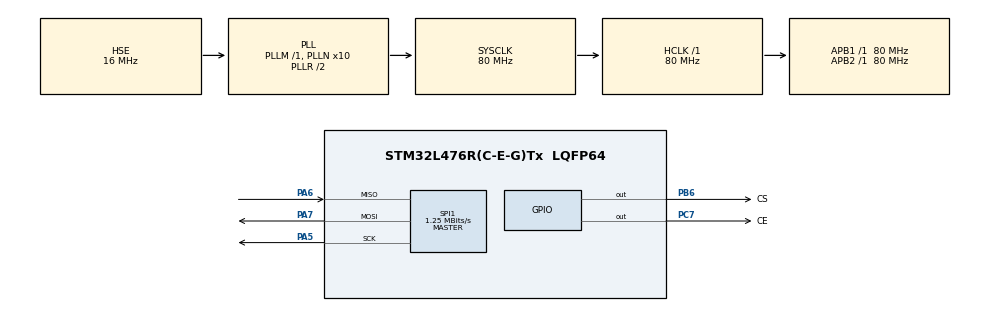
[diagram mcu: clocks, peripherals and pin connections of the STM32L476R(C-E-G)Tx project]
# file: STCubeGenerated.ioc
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Mcu.Family=STM32L4
Mcu.Name=STM32L476R(C-E-G)Tx
Mcu.Package=LQFP64
NVIC.PriorityGroup=NVIC_PRIORITYGROUP_4
NVIC.TIM2_IRQn=true\:0\:0\:false\:false\:true\:true
PA5.Mode=Full_Duplex_Master
PA5.Signal=SPI1_SCK
PA6.Mode=Full_Duplex_Master
PA6.Signal=SPI1_MISO
PA7.Mode=Full_Duplex_Master
PA7.Signal=SPI1_MOSI
PB6.GPIO_Label=CS
PB6.PinState=GPIO_PIN_SET
PB6.Signal=GPIO_Output
PC7.GPIO_Label=CE
PC7.Signal=GPIO_Output
PH0-OSC_IN\ (PH0).Mode=HSE-External-Oscillator
PH0-OSC_IN\ (PH0).Signal=RCC_OSC_IN
PH1-OSC_OUT\ (PH1).Mode=HSE-External-Oscillator
PH1-OSC_OUT\ (PH1).Signal=RCC_OSC_OUT
ProjectManager.HeapSize=0x200
ProjectManager.StackSize=0x400
ProjectManager.TargetToolchain=MDK-ARM V5
RCC.ADCFreq_Value=64000000
RCC.AHBFreq_Value=80000000
RCC.APB1Freq_Value=80000000
RCC.APB1TimFreq_Value=80000000
RCC.APB2Freq_Value=80000000
RCC.APB2TimFreq_Value=80000000
RCC.CortexFreq_Value=80000000
RCC.HCLKFreq_Value=80000000
RCC.HSE_VALUE=16000000
RCC.HSI_VALUE=16000000
RCC.LSE_VALUE=32768
RCC.MSI_VALUE=4000000
RCC.PLLN=10
RCC.PLLSourceVirtual=RCC_PLLSOURCE_HSE
RCC.SYSCLKFreq_VALUE=80000000
RCC.SYSCLKSource=RCC_SYSCLKSOURCE_PLLCLK
RCC.USBFreq_Value=64000000
RCC.VCOOutputFreq_Value=160000000
SPI1.BaudRatePrescaler=SPI_BAUDRATEPRESCALER_64
SPI1.CalculateBaudRate=1.25 MBits/s
SPI1.DataSize=SPI_DATASIZE_8BIT
SPI1.Direction=SPI_DIRECTION_2LINES
SPI1.Mode=SPI_MODE_MASTER
SPI1.TIMode=SPI_TIMODE_DISABLE
SPI1.VirtualType=VM_MASTER
TIM2.Period=80000
VP_TIM2_VS_ClockSourceINT.Mode=Internal
board=custom

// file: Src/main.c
/* USER CODE BEGIN Header */
/**
  ******************************************************************************
  * @file           : main.c
  * @brief          : Main program body
  ******************************************************************************
  ** This notice applies to any and all portions of this file
  * that are not between comment pairs USER CODE BEGIN and
  * USER CODE END. Other portions of this file, whether
  * inserted by the user or by software development tools
  * are owned by their respective copyright owners.
  *
  * COPYRIGHT(c) 2019 STMicroelectronics
  *
  * Redistribution and use in source and binary forms, with or without modification,
  * are permitted provided that the following conditions are met:
  *   1. Redistributions of source code must retain the above copyright notice,
  *      this list of conditions and the following disclaimer.
  *   2. Redistributions in binary form must reproduce the above copyright notice,
  *      this list of conditions and the following disclaimer in the documentation
  *      and/or other materials provided with the distribution.
  *   3. Neither the name of STMicroelectronics nor the names of its contributors
  *      may be used to endorse or promote products derived from this software
  *      without specific prior written permission.
  *
  * THIS SOFTWARE IS PROVIDED BY THE COPYRIGHT HOLDERS AND CONTRIBUTORS "AS IS"
  * AND ANY EXPRESS OR IMPLIED WARRANTIES, INCLUDING, BUT NOT LIMITED TO, THE
  * IMPLIED WARRANTIES OF MERCHANTABILITY AND FITNESS FOR A PARTICULAR PURPOSE ARE
  * DISCLAIMED. IN NO EVENT SHALL THE COPYRIGHT HOLDER OR CONTRIBUTORS BE LIABLE
  * FOR ANY DIRECT, INDIRECT, INCIDENTAL, SPECIAL, EXEMPLARY, OR CONSEQUENTIAL
  * DAMAGES (INCLUDING, BUT NOT LIMITED TO, PROCUREMENT OF SUBSTITUTE GOODS OR
  * SERVICES; LOSS OF USE, DATA, OR PROFITS; OR BUSINESS INTERRUPTION) HOWEVER
  * CAUSED AND ON ANY THEORY OF LIABILITY, WHETHER IN CONTRACT, STRICT LIABILITY,
  * OR TORT (INCLUDING NEGLIGENCE OR OTHERWISE) ARISING IN ANY WAY OUT OF THE USE
  * OF THIS SOFTWARE, EVEN IF ADVISED OF THE POSSIBILITY OF SUCH DAMAGE.
  *
  ******************************************************************************
  */
/* USER CODE END Header */

#include "main.h"

/* USER CODE BEGIN Includes */
#include "nRF24L01p.h"

/* USER CODE END Includes */

SPI_HandleTypeDef hspi1;

TIM_HandleTypeDef htim2;

/* USER CODE BEGIN PV */
/* Private variables ---------------------------------------------------------*/

/* USER CODE END PV */

void SystemClock_Config(void);
static void MX_GPIO_Init(void);
static void MX_SPI1_Init(void);
static void MX_TIM2_Init(void);
/* USER CODE BEGIN PFP */
/* Private function prototypes -----------------------------------------------*/

uint8_t SPI_sprejmi_bajt(uint8_t data);
void SPI_poslji_bajt(uint8_t naslov, uint8_t vrednost);
void sprejmiRadio(void);
void posljiRadio(void);

/* USER CODE END PFP */

/* USER CODE BEGIN 0 */

uint8_t TxSPI[6] = {0xFF, 0xFF, 0xFF, 0xFF, 0xFF, 0xFF};
uint8_t RxSPI[6] = {0xFF, 0xFF, 0xFF, 0xFF, 0xFF, 0xFF};

uint8_t test[15];

int16_t accx = 0;
int16_t accy = 0;
int16_t accz = 0;

int stevec = 10;
int stevec1 = 5;

int16_t podatki[2000];
int ijklm = 0;
int i = 0;
int j = 0;

/* USER CODE END 0 */

int main(void)
{

  /* MCU Configuration--------------------------------------------------------*/

  /* Reset of all peripherals, Initializes the Flash interface and the Systick. */
  HAL_Init();

  /* Configure the system clock */
  SystemClock_Config();

  /* Initialize all configured peripherals */
  MX_GPIO_Init();
  MX_SPI1_Init();
  MX_TIM2_Init();
  /* USER CODE BEGIN 2 */

  // Inizializiraj in splakni SPI buffer
  HAL_SPI_Transmit(&hspi1, TxSPI, 6, 100);
	HAL_SPI_Transmit(&hspi1, TxSPI, 6, 100);
	HAL_SPI_Transmit(&hspi1, TxSPI, 6, 100);

	// Nastavi RX naslov za 0. pipo
	//LSBajt gre prvi
	TxSPI[0] = 0x0A | (1 << 5);
	TxSPI[1] = 0xE1;
	TxSPI[2] = 0xF0;
	TxSPI[3] = 0xF0;
	TxSPI[4] = 0xE8;
	TxSPI[5] = 0xE8;
	HAL_GPIO_WritePin(GPIOB, GPIO_PIN_6, GPIO_PIN_RESET);
	HAL_SPI_Transmit(&hspi1, TxSPI, 6, 100);
	HAL_GPIO_WritePin(GPIOB, GPIO_PIN_6, GPIO_PIN_SET);

	// Nastavi RX naslov za 1. pipo
	//LSBajt gre prvi
	TxSPI[0] = 0x0B | (1 << 5);
	TxSPI[1] = 0x77;
	TxSPI[2] = 0xF0;
	TxSPI[3] = 0xF0;
	TxSPI[4] = 0xE8;
	TxSPI[5] = 0xE8;
	HAL_GPIO_WritePin(GPIOB, GPIO_PIN_6, GPIO_PIN_RESET);
	HAL_SPI_Transmit(&hspi1, TxSPI, 6, 100);
	HAL_GPIO_WritePin(GPIOB, GPIO_PIN_6, GPIO_PIN_SET);

	// Nastavi RX naslov za 2. pipo
	//LSBajt gre prvi
	/*TxSPI[0] = 0x0C | (1 << 5);
	TxSPI[1] = 0x77;
	HAL_GPIO_WritePin(GPIOB, GPIO_PIN_6, GPIO_PIN_RESET);
	HAL_SPI_Transmit(&hspi1, TxSPI, 2, 100);
	HAL_GPIO_WritePin(GPIOB, GPIO_PIN_6, GPIO_PIN_SET);*/

	// Vklopi RX pipe 0, 1, 2
	//LSBajt gre prvi
	TxSPI[0] = 0x02 | (1 << 5);
	TxSPI[1] = 0x07;
	HAL_GPIO_WritePin(GPIOB, GPIO_PIN_6, GPIO_PIN_RESET);
	HAL_SPI_Transmit(&hspi1, TxSPI, 2, 100);
	HAL_GPIO_WritePin(GPIOB, GPIO_PIN_6, GPIO_PIN_SET);

	// Nastavi TX naslov
	//LSBajt gre prvi
	TxSPI[0] = 0x10 | (1 << 5);
	TxSPI[1] = 0xE1;
	TxSPI[2] = 0xF0;
	TxSPI[3] = 0xF0;
	TxSPI[4] = 0xE8;
	TxSPI[5] = 0xE8;
	HAL_GPIO_WritePin(GPIOB, GPIO_PIN_6, GPIO_PIN_RESET);
	HAL_SPI_Transmit(&hspi1, TxSPI, 6, 100);
	HAL_GPIO_WritePin(GPIOB, GPIO_PIN_6, GPIO_PIN_SET);

	// Nastavi 14 bajtov za sprejem za 0. pipo
	TxSPI[0] = 0x11 | (1 << 5);
	TxSPI[1] = 14;
	HAL_GPIO_WritePin(GPIOB, GPIO_PIN_6, GPIO_PIN_RESET);
	HAL_SPI_Transmit(&hspi1, TxSPI, 2, 100);
	HAL_GPIO_WritePin(GPIOB, GPIO_PIN_6, GPIO_PIN_SET);

	// Nastavi 14 bajtov za sprejem za 1. pipo
	TxSPI[0] = 0x12 | (1 << 5);
	TxSPI[1] = 14;
	HAL_GPIO_WritePin(GPIOB, GPIO_PIN_6, GPIO_PIN_RESET);
	HAL_SPI_Transmit(&hspi1, TxSPI, 2, 100);
	HAL_GPIO_WritePin(GPIOB, GPIO_PIN_6, GPIO_PIN_SET);

	// Nastavi 14 bajtov za sprejem za 2. pipo
	TxSPI[0] = 0x13 | (1 << 5);
	TxSPI[1] = 14;
	HAL_GPIO_WritePin(GPIOB, GPIO_PIN_6, GPIO_PIN_RESET);
	HAL_SPI_Transmit(&hspi1, TxSPI, 2, 100);
	HAL_GPIO_WritePin(GPIOB, GPIO_PIN_6, GPIO_PIN_SET);

	// Nastavi TX in vklopi
	TxSPI[0] = 0x00 | (1 << 5);
	TxSPI[1] = 0x0E;
	HAL_GPIO_WritePin(GPIOB, GPIO_PIN_6, GPIO_PIN_RESET);
	HAL_SPI_Transmit(&hspi1, TxSPI, 2, 100);
	HAL_GPIO_WritePin(GPIOB, GPIO_PIN_6, GPIO_PIN_SET);

	// Nastavi frekvenco na 2400 + 76 MHz
	TxSPI[0] = 0x05 | (1 << 5);
	TxSPI[1] = 76;
	HAL_GPIO_WritePin(GPIOB, GPIO_PIN_6, GPIO_PIN_RESET);
	HAL_SPI_Transmit(&hspi1, TxSPI, 2, 100);
	HAL_GPIO_WritePin(GPIOB, GPIO_PIN_6, GPIO_PIN_SET);

	// Nastavi SETUP_RETR register
	TxSPI[0] = 0x04 | (1 << 5);
	TxSPI[1] = 0x2F;
	HAL_GPIO_WritePin(GPIOB, GPIO_PIN_6, GPIO_PIN_RESET);
	HAL_SPI_Transmit(&hspi1, TxSPI, 2, 100);
	HAL_GPIO_WritePin(GPIOB, GPIO_PIN_6, GPIO_PIN_SET);

	// Nastavi RF_SETUP register
	TxSPI[0] = 0x06 | (1 << 5);
	TxSPI[1] = 0x08;
	HAL_GPIO_WritePin(GPIOB, GPIO_PIN_6, GPIO_PIN_RESET);
	HAL_SPI_Transmit(&hspi1, TxSPI, 2, 100);
	HAL_GPIO_WritePin(GPIOB, GPIO_PIN_6, GPIO_PIN_SET);

	// Nastavi STATUS register
	TxSPI[0] = 0x07 | (1 << 5);
	TxSPI[1] = 0x70;
	HAL_GPIO_WritePin(GPIOB, GPIO_PIN_6, GPIO_PIN_RESET);
	HAL_SPI_Transmit(&hspi1, TxSPI, 2, 100);
	HAL_GPIO_WritePin(GPIOB, GPIO_PIN_6, GPIO_PIN_SET);

	// Splakni RX in TXbuffer
	TxSPI[0] = 0xE2;	// Splakni RX buffer
	HAL_GPIO_WritePin(GPIOB, GPIO_PIN_6, GPIO_PIN_RESET);
	HAL_SPI_Transmit(&hspi1, TxSPI, 1, 100);
	HAL_GPIO_WritePin(GPIOB, GPIO_PIN_6, GPIO_PIN_SET);

	TxSPI[0] = 0xE1;	// Splakni TX buffer
	HAL_GPIO_WritePin(GPIOB, GPIO_PIN_6, GPIO_PIN_RESET);
	HAL_SPI_Transmit(&hspi1, TxSPI, 1, 100);
	HAL_GPIO_WritePin(GPIOB, GPIO_PIN_6, GPIO_PIN_SET);

  /* USER CODE END 2 */

  /* Infinite loop */
  while (1)
  {

    /* USER CODE BEGIN 3 */
		i = 0;
		j = 1;

		if(ijklm)
		{
			stevec1 = 0;
			TIM2->DIER |= (1 << TIM_DIER_CC1IE_Pos);
			TIM2->CR1 |= (1 << TIM_CR1_CEN_Pos);

			while(TIM2->CR1 & (1 << TIM_CR1_CEN_Pos))
			{
				sprejmiRadio();
				podatki[stevec] = (test[1] << 8) | test[2];
				stevec++;
			}
			ijklm = 0;
		}

		if (j)
		{
			sprejmiRadio();
		}

		accx = (test[1] << 8) | test[2];
		accy = (test[3] << 8) | test[4];
		accz = (test[5] << 8) | test[6];

		if (i)
		{
			posljiRadio();
		}

  }
	SPI_poslji_bajt(1,1);
  /* USER CODE END 3 */
}

void SystemClock_Config(void)
{
  RCC_OscInitTypeDef RCC_OscInitStruct = {0};
  RCC_ClkInitTypeDef RCC_ClkInitStruct = {0};

  /**Initializes the CPU, AHB and APB busses clocks
  */
  RCC_OscInitStruct.OscillatorType = RCC_OSCILLATORTYPE_HSE;
  RCC_OscInitStruct.HSEState = RCC_HSE_ON;
  RCC_OscInitStruct.PLL.PLLState = RCC_PLL_ON;
  RCC_OscInitStruct.PLL.PLLSource = RCC_PLLSOURCE_HSE;
  RCC_OscInitStruct.PLL.PLLM = 1;
  RCC_OscInitStruct.PLL.PLLN = 10;
  RCC_OscInitStruct.PLL.PLLP = RCC_PLLP_DIV7;
  RCC_OscInitStruct.PLL.PLLQ = RCC_PLLQ_DIV2;
  RCC_OscInitStruct.PLL.PLLR = RCC_PLLR_DIV2;
  if (HAL_RCC_OscConfig(&RCC_OscInitStruct) != HAL_OK)
  {
    Error_Handler();
  }
  /**Initializes the CPU, AHB and APB busses clocks
  */
  RCC_ClkInitStruct.ClockType = RCC_CLOCKTYPE_HCLK|RCC_CLOCKTYPE_SYSCLK
                              |RCC_CLOCKTYPE_PCLK1|RCC_CLOCKTYPE_PCLK2;
  RCC_ClkInitStruct.SYSCLKSource = RCC_SYSCLKSOURCE_PLLCLK;
  RCC_ClkInitStruct.AHBCLKDivider = RCC_SYSCLK_DIV1;
  RCC_ClkInitStruct.APB1CLKDivider = RCC_HCLK_DIV1;
  RCC_ClkInitStruct.APB2CLKDivider = RCC_HCLK_DIV1;

  if (HAL_RCC_ClockConfig(&RCC_ClkInitStruct, FLASH_LATENCY_4) != HAL_OK)
  {
    Error_Handler();
  }
  /**Configure the main internal regulator output voltage
  */
  if (HAL_PWREx_ControlVoltageScaling(PWR_REGULATOR_VOLTAGE_SCALE1) != HAL_OK)
  {
    Error_Handler();
  }
}

static void MX_SPI1_Init(void)
{

  /* SPI1 parameter configuration*/
  hspi1.Instance = SPI1;
  hspi1.Init.Mode = SPI_MODE_MASTER;
  hspi1.Init.Direction = SPI_DIRECTION_2LINES;
  hspi1.Init.DataSize = SPI_DATASIZE_8BIT;
  hspi1.Init.CLKPolarity = SPI_POLARITY_LOW;
  hspi1.Init.CLKPhase = SPI_PHASE_1EDGE;
  hspi1.Init.NSS = SPI_NSS_SOFT;
  hspi1.Init.BaudRatePrescaler = SPI_BAUDRATEPRESCALER_64;
  hspi1.Init.FirstBit = SPI_FIRSTBIT_MSB;
  hspi1.Init.TIMode = SPI_TIMODE_DISABLE;
  hspi1.Init.CRCCalculation = SPI_CRCCALCULATION_DISABLE;
  hspi1.Init.CRCPolynomial = 7;
  hspi1.Init.CRCLength = SPI_CRC_LENGTH_DATASIZE;
  hspi1.Init.NSSPMode = SPI_NSS_PULSE_ENABLE;
  if (HAL_SPI_Init(&hspi1) != HAL_OK)
  {
    Error_Handler();
  }

}

static void MX_TIM2_Init(void)
{

  TIM_ClockConfigTypeDef sClockSourceConfig = {0};
  TIM_MasterConfigTypeDef sMasterConfig = {0};

  htim2.Instance = TIM2;
  htim2.Init.Prescaler = 999;
  htim2.Init.CounterMode = TIM_COUNTERMODE_UP;
  htim2.Init.Period = 80000;
  htim2.Init.ClockDivision = TIM_CLOCKDIVISION_DIV1;
  htim2.Init.AutoReloadPreload = TIM_AUTORELOAD_PRELOAD_DISABLE;
  if (HAL_TIM_Base_Init(&htim2) != HAL_OK)
  {
    Error_Handler();
  }
  sClockSourceConfig.ClockSource = TIM_CLOCKSOURCE_INTERNAL;
  if (HAL_TIM_ConfigClockSource(&htim2, &sClockSourceConfig) != HAL_OK)
  {
    Error_Handler();
  }
  sMasterConfig.MasterOutputTrigger = TIM_TRGO_RESET;
  sMasterConfig.MasterSlaveMode = TIM_MASTERSLAVEMODE_DISABLE;
  if (HAL_TIMEx_MasterConfigSynchronization(&htim2, &sMasterConfig) != HAL_OK)
  {
    Error_Handler();
  }

}

static void MX_GPIO_Init(void)
{
  GPIO_InitTypeDef GPIO_InitStruct = {0};

  /* GPIO Ports Clock Enable */
  __HAL_RCC_GPIOH_CLK_ENABLE();
  __HAL_RCC_GPIOA_CLK_ENABLE();
  __HAL_RCC_GPIOC_CLK_ENABLE();
  __HAL_RCC_GPIOB_CLK_ENABLE();

  /*Configure GPIO pin Output Level */
  HAL_GPIO_WritePin(CE_GPIO_Port, CE_Pin, GPIO_PIN_RESET);

  /*Configure GPIO pin Output Level */
  HAL_GPIO_WritePin(CS_GPIO_Port, CS_Pin, GPIO_PIN_SET);

  /*Configure GPIO pin : CE_Pin */
  GPIO_InitStruct.Pin = CE_Pin;
  GPIO_InitStruct.Mode = GPIO_MODE_OUTPUT_PP;
  GPIO_InitStruct.Pull = GPIO_NOPULL;
  GPIO_InitStruct.Speed = GPIO_SPEED_FREQ_LOW;
  HAL_GPIO_Init(CE_GPIO_Port, &GPIO_InitStruct);

  /*Configure GPIO pin : CS_Pin */
  GPIO_InitStruct.Pin = CS_Pin;
  GPIO_InitStruct.Mode = GPIO_MODE_OUTPUT_PP;
  GPIO_InitStruct.Pull = GPIO_NOPULL;
  GPIO_InitStruct.Speed = GPIO_SPEED_FREQ_LOW;
  HAL_GPIO_Init(CS_GPIO_Port, &GPIO_InitStruct);

}

/* USER CODE BEGIN 4 */

uint8_t SPI_sprejmi_bajt(uint8_t data)
{
	uint8_t buffer[6] = {10, 10, 10, 10, 10, 10};
	//buffer[0] = data;
	HAL_SPI_Receive(&hspi1, buffer, 6, 100);

	return buffer[1];
}

void SPI_poslji_bajt(uint8_t naslov, uint8_t vrednost)
{
	vrednost = 6;
  naslov = 1;
	TxSPI[0] = 0xFF;
	TxSPI[1] = 0xFF;
	TxSPI[2] = 0xFF;
	TxSPI[3] = 0xFF;
	TxSPI[4] = 0xFF;
	TxSPI[5] = 0xFF;
	HAL_GPIO_WritePin(GPIOB, GPIO_PIN_6, GPIO_PIN_RESET);
	if(naslov)
  {
    HAL_SPI_Receive(&hspi1, TxSPI, vrednost, 100);
  }
  else
  {
    HAL_SPI_Transmit(&hspi1, TxSPI, vrednost, 100);
  }
	HAL_GPIO_WritePin(GPIOB, GPIO_PIN_6, GPIO_PIN_SET);

}

void sprejmiRadio()
{
	// 1. postavi PRIM_RX = 1
	TxSPI[0] = 0x00 | (1 << 5);
	TxSPI[1] = 0x0F;
	HAL_GPIO_WritePin(GPIOB, GPIO_PIN_6, GPIO_PIN_RESET);
	HAL_SPI_Transmit(&hspi1, TxSPI, 2, 100);
	HAL_GPIO_WritePin(GPIOB, GPIO_PIN_6, GPIO_PIN_SET);

	/*TxSPI[0] = 0x07 | (1 << 5);
	TxSPI[1] = 0x70;
	HAL_GPIO_WritePin(GPIOB, GPIO_PIN_6, GPIO_PIN_RESET);
	HAL_SPI_Transmit(&hspi1, TxSPI, 2, 100);
	HAL_GPIO_WritePin(GPIOB, GPIO_PIN_6, GPIO_PIN_SET);*/

	// 2. postavi CE=1
	HAL_GPIO_WritePin(GPIOC, GPIO_PIN_7, GPIO_PIN_SET);

	// 3. pocakaj 1 ms
	HAL_Delay(1);

	// 4. poslušam ali je kaj na liniji

	RxSPI[0] = 0x17;
  RxSPI[1] = 0xFF;
	HAL_GPIO_WritePin(GPIOB, GPIO_PIN_6, GPIO_PIN_RESET);
	HAL_SPI_Receive(&hspi1, RxSPI, 2, 100);
	HAL_GPIO_WritePin(GPIOB, GPIO_PIN_6, GPIO_PIN_SET);

	// poslušam toliko èasa, dokler da ne pride nekaj na linijo
	while(!(RxSPI[0] & (1 << 6)))
	{
		RxSPI[0] = 0x17;
    RxSPI[1] = 0xFF;
		HAL_GPIO_WritePin(GPIOB, GPIO_PIN_6, GPIO_PIN_RESET);
		HAL_SPI_Receive(&hspi1, RxSPI, 2, 100);
		HAL_GPIO_WritePin(GPIOB, GPIO_PIN_6, GPIO_PIN_SET);

	}

	while(!(RxSPI[1] & (1 << 0)))
	{//podatki so prišli

		// 1. preberi podatke iz RX FIFOTA
		test[0] = 0x61;
		HAL_GPIO_WritePin(GPIOB, GPIO_PIN_6, GPIO_PIN_RESET);
		HAL_SPI_Receive(&hspi1, test, 15, 100);
		HAL_GPIO_WritePin(GPIOB, GPIO_PIN_6, GPIO_PIN_SET);

		stevec1++;

		// 2. pocisti RX_DR IRQ zastavico
		TxSPI[0] = 0x07 | (1 << 5);
		TxSPI[1] = 0x70;
		HAL_GPIO_WritePin(GPIOB, GPIO_PIN_6, GPIO_PIN_RESET);
		HAL_SPI_Transmit(&hspi1, TxSPI, 2, 100);
		HAL_GPIO_WritePin(GPIOB, GPIO_PIN_6, GPIO_PIN_SET);

		// 3. preberi FIFO_STATUS, ce je še kaj podatkov v FIFOtu
		RxSPI[0] = 0x17;
    RxSPI[1] = 0xFF;
		HAL_GPIO_WritePin(GPIOB, GPIO_PIN_6, GPIO_PIN_RESET);
		HAL_SPI_Receive(&hspi1, RxSPI, 2, 100);
		HAL_GPIO_WritePin(GPIOB, GPIO_PIN_6, GPIO_PIN_SET);

	}

}

void posljiRadio()
{
	// 1. postavi PRIM_RX = 0

	//postavi CE=0
	HAL_GPIO_WritePin(GPIOC, GPIO_PIN_7, GPIO_PIN_RESET);

	TxSPI[0] = 0x00 | (1 << 5);
	TxSPI[1] = 0x0E;
	HAL_GPIO_WritePin(GPIOB, GPIO_PIN_6, GPIO_PIN_RESET);
	HAL_SPI_Transmit(&hspi1, TxSPI, 2, 100);
	HAL_GPIO_WritePin(GPIOB, GPIO_PIN_6, GPIO_PIN_SET);

	TxSPI[0] = 0x07 | (1 << 5);
	TxSPI[1] = 0x70;
	HAL_GPIO_WritePin(GPIOB, GPIO_PIN_6, GPIO_PIN_RESET);
	HAL_SPI_Transmit(&hspi1, TxSPI, 2, 100);
	HAL_GPIO_WritePin(GPIOB, GPIO_PIN_6, GPIO_PIN_SET);

	HAL_Delay(1);

	// 2. naloži podatke v pomnilnik
	test[0] = 0xA0; // naslov pomnilnika
	test[1] = 0x12;
	test[2] = 0x34;
	test[3] = 0x56;
	test[4] = 0x78;
	HAL_GPIO_WritePin(GPIOB, GPIO_PIN_6, GPIO_PIN_RESET);
	HAL_SPI_Transmit(&hspi1, test, 15, 100);
	HAL_GPIO_WritePin(GPIOB, GPIO_PIN_6, GPIO_PIN_SET);

	// 3. pošlji vsaj 10 us pulz na CE za prenos paketa
	HAL_GPIO_WritePin(GPIOC, GPIO_PIN_7, GPIO_PIN_SET);
	HAL_Delay(20);
	HAL_GPIO_WritePin(GPIOC, GPIO_PIN_7, GPIO_PIN_RESET);

	// 4. ali so podatki prišli?
	RxSPI[0] = 0x08;
	RxSPI[1] = 0xFF;
	HAL_GPIO_WritePin(GPIOB, GPIO_PIN_6, GPIO_PIN_RESET);
	HAL_SPI_Receive(&hspi1, RxSPI, 2, 100);
	HAL_GPIO_WritePin(GPIOB, GPIO_PIN_6, GPIO_PIN_SET);

	if(RxSPI[0] & (1 << 5))
	{//podatki so bili dostavljeni
		TxSPI[0] = 0x07 | (1 << 5);
		TxSPI[1] = 0x70;
		HAL_GPIO_WritePin(GPIOB, GPIO_PIN_6, GPIO_PIN_RESET);
		HAL_SPI_Transmit(&hspi1, TxSPI, 2, 100);
		HAL_GPIO_WritePin(GPIOB, GPIO_PIN_6, GPIO_PIN_SET);
	}
	else
	{// splaknem TX FIFO
		TxSPI[0] = 0xE1;
		HAL_GPIO_WritePin(GPIOB, GPIO_PIN_6, GPIO_PIN_RESET);
		HAL_SPI_Transmit(&hspi1, TxSPI, 1, 100);
		HAL_GPIO_WritePin(GPIOB, GPIO_PIN_6, GPIO_PIN_SET);
	}
}

/* USER CODE END 4 */

void Error_Handler(void)
{
  while(1)
  {
  }
}

/************************ (C) COPYRIGHT STMicroelectronics *****END OF FILE****/
